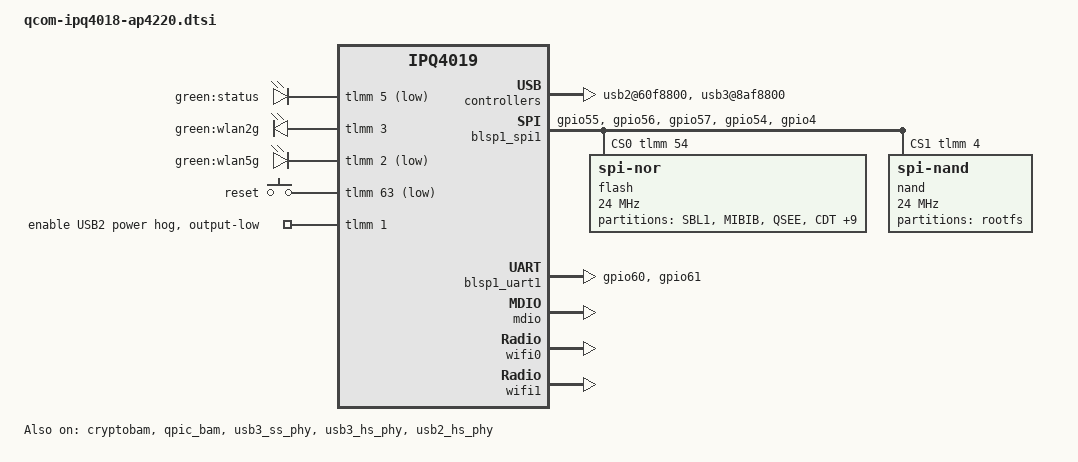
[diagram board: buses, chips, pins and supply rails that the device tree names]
// SPDX-License-Identifier: GPL-2.0-or-later OR MIT

#include "qcom-ipq4019.dtsi"
#include <dt-bindings/gpio/gpio.h>
#include <dt-bindings/input/input.h>
#include <dt-bindings/soc/qcom,tcsr.h>

/ {
	aliases {
		led-boot = &status;
		led-failsafe = &status;
		led-running = &status;
		led-upgrade = &status;
		label-mac-device = &gmac0;
	};

	chosen {
		bootargs-append = " ubi.mtd=rootfs root=/dev/ubiblock0_1";
	};

	soc {
		rng@22000 {
			status = "okay";
		};

		ess-psgmii@98000 {
			status = "okay";
		};

		tcsr@1949000 {
			compatible = "qcom,tcsr";
			reg = <0x1949000 0x100>;
			qcom,wifi_glb_cfg = <TCSR_WIFI_GLB_CFG>;
		};

		tcsr@194b000 {
			compatible = "qcom,tcsr";
			reg = <0x194b000 0x100>;
			qcom,usb-hsphy-mode-select = <TCSR_USB_HSPHY_HOST_MODE>;
		};

		ess_tcsr@1953000 {
			compatible = "qcom,tcsr";
			reg = <0x1953000 0x1000>;
			qcom,ess-interface-select = <TCSR_ESS_PSGMII>;
		};

		tcsr@1957000 {
			compatible = "qcom,tcsr";
			reg = <0x1957000 0x100>;
			qcom,wifi_noc_memtype_m0_m2 = <TCSR_WIFI_NOC_MEMTYPE_M0_M2>;
		};

		usb2@60f8800 {
			status = "okay";
		};

		usb3@8af8800 {
			status = "okay";
		};

		crypto@8e3a000 {
			status = "okay";
		};

		watchdog@b017000 {
			status = "okay";
		};

		ess-switch@c000000 {
			status = "okay";
		};

		edma@c080000 {
			status = "okay";
		};
	};

	leds {
		compatible = "gpio-leds";

		status: status {
			label = "green:status";
			gpios = <&tlmm 5 GPIO_ACTIVE_LOW>;
			default-state = "keep";
		};

		wlan2g {
			label = "green:wlan2g";
			gpios = <&tlmm 3 GPIO_ACTIVE_HIGH>;
			linux,default-trigger = "phy0tpt";
		};

		wlan5g {
			label = "green:wlan5g";
			gpios = <&tlmm 2 GPIO_ACTIVE_LOW>;
			linux,default-trigger = "phy1tpt";
		};
	};

	keys {
		compatible = "gpio-keys";

		reset {
			label = "reset";
			gpios = <&tlmm 63 GPIO_ACTIVE_LOW>;
			linux,code = <KEY_RESTART>;
		};
	};
};

&blsp_dma {
	status = "okay";
};

&blsp1_spi1 {
	status = "okay";

	pinctrl-0 = <&spi0_pins>;
	pinctrl-names = "default";
	cs-gpios = <&tlmm 54 GPIO_ACTIVE_HIGH>,
		   <&tlmm 4 GPIO_ACTIVE_HIGH>;

	flash@0 {
		reg = <0>;
		compatible = "jedec,spi-nor";
		spi-max-frequency = <24000000>;

		partitions {
			compatible = "fixed-partitions";
			#address-cells = <1>;
			#size-cells = <1>;

			partition@0 {
				label = "SBL1";
				reg = <0x0 0x40000>;
				read-only;
			};

			partition@40000 {
				label = "MIBIB";
				reg = <0x40000 0x20000>;
				read-only;
			};

			partition@60000 {
				label = "QSEE";
				reg = <0x60000 0x60000>;
				read-only;
			};

			partition@c0000 {
				label = "CDT";
				reg = <0xc0000 0x10000>;
				read-only;
			};

			partition@d0000 {
				label = "DDRPARAMS";
				reg = <0xd0000 0x10000>;
				read-only;
			};

			partition@e0000 {
				label = "APPSBLENV";
				reg = <0xe0000 0x10000>;
			};

			partition@f0000 {
				label = "APPSBL";
				reg = <0xf0000 0x80000>;
				read-only;
			};

			partition@170000 {
				label = "ART";
				reg = <0x170000 0x10000>;
				read-only;
			};

			partition@180000 {
				label = "product_info";
				reg = <0x00180000 0x00010000>;
				read-only;
			};

			partition@190000 {
				label = "mtdoops";
				reg = <0x00190000 0x00020000>;
			};

			partition@1b0000 {
				label = "priv_data1";
				reg = <0x001b0000 0x00010000>;
				read-only;
			};

			partition@1c0000 {
				label = "priv_data2";
				reg = <0x001c0000 0x00010000>;
				read-only;
			};

			partition@1d0000 {
				label = "priv_data3";
				reg = <0x001d0000 0x00200000>;
				read-only;
			};
		};
	};

	nand@1 {
		compatible = "spi-nand";
		reg = <1>;
		spi-max-frequency = <24000000>;

		partitions {
			compatible = "fixed-partitions";
			#address-cells = <1>;
			#size-cells = <1>;

			ubi_rootfs: partition@0 {
				label = "rootfs";
				/* reg defined in 48M/128M variant dts. */
			};
		};
	};
};

&blsp1_uart1 {
	pinctrl-0 = <&serial0_pins>;
	pinctrl-names = "default";
	status = "okay";
};

&cryptobam {
	status = "okay";
};

&qpic_bam {
	status = "okay";
};

&mdio {
	status = "okay";
};

&tlmm {
	mdio_pins: mdio_pinmux {
		mux_mdio {
			pins = "gpio53";
			function = "mdio";
			bias-pull-up;
		};

		mux_mdc {
			pins = "gpio52";
			function = "mdc";
			bias-pull-up;
		};
	};

	enable-usb-power {
		gpio-hog;
		gpios = <1 GPIO_ACTIVE_HIGH>;
		output-low;
		line-name = "enable USB2 power";
	};

	serial0_pins: serial0_pinmux {
		mux_uart {
			pins = "gpio60", "gpio61";
			function = "blsp_uart0";
			bias-disable;
		};
	};

	spi0_pins: spi0_pinmux {
		mux_spi {
			function = "blsp_spi0";
			pins = "gpio55", "gpio56", "gpio57";
			drive-strength = <12>;
			bias-disable;
		};

		mux_cs {
			function = "gpio";
			pins = "gpio54", "gpio4";
			drive-strength = <2>;
			bias-disable;
			output-high;
		};
	};
};

&ethphy3 {
	qcom,single-led-1000;
	qcom,single-led-100;
	qcom,single-led-10;
};

&ethphy4 {
	qcom,single-led-1000;
	qcom,single-led-100;
	qcom,single-led-10;
};

&usb3_ss_phy {
	status = "okay";
};

&usb3_hs_phy {
	status = "okay";
};

&usb2_hs_phy {
	status = "okay";
};

&wifi0 {
	status = "okay";

	qcom,ath10k-calibration-variant = "Alibaba-AP4220";
};

&wifi1 {
	status = "okay";

	qcom,ath10k-calibration-variant = "Alibaba-AP4220";
};
